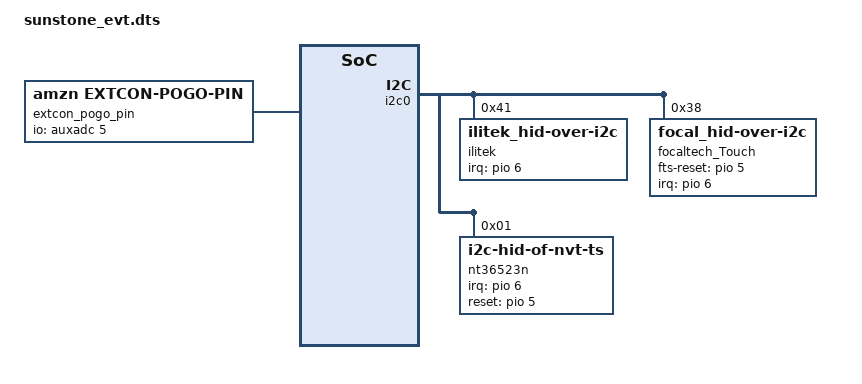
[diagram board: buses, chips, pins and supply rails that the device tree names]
/*
 * Copyright (C) 2022 Amazon.com
 *
 * This program is free software: you can redistribute it and/or modify
 * it under the terms of the GNU General Public License version 2 as
 * published by the Free Software Foundation.
 *
 * This program is distributed in the hope that it will be useful,
 * but WITHOUT ANY WARRANTY; without even the implied warranty of
 * MERCHANTABILITY or FITNESS FOR A PARTICULAR PURPOSE. See the
 * GNU General Public License for more details.
 *
 */

/dts-v1/;
/plugin/;

#define SUNSTONE_KEYBOARD_HALL_SENSOR
#include "sunstone.dtsi"

&chosen {
	version = "evt";
};

&i2c0 {
	ilitek@41 {
		compatible = "ilitek_hid-over-i2c";
		reg = <0x41>;
		irq-gpios = <&pio 6 GPIO_ACTIVE_HIGH>;
		hid-descr-addr = <0>;
	};

	focaltech_Touch@38 {
		compatible = "focal_hid-over-i2c";
		reg = <0x38>;
		fts-reset-gpios = <&pio 5 GPIO_ACTIVE_HIGH>;
		irq-gpios = <&pio 6 GPIO_ACTIVE_HIGH>;
		hid-descr-addr = <0>;
	};

	nt36523n@1 {
		compatible = "i2c-hid-of-nvt-ts";
		reg = <0x1>;
		hid-descr-addr = <0>;
		irq-gpios = <&pio 6 GPIO_ACTIVE_HIGH>;
		post-power-on-delay-ms = <50>;
		novatek,reset-gpio = <&pio 5 GPIO_ACTIVE_HIGH>;
		novatek,wakeup-id = <10>;
		novatek,pen-support;
	};
};

&lk_charger {
	fast_charge_voltage = <3300000>;
	precharge_current = <300000>;
};

&ssusb1 {
	extcon = <&extcon_pogo_pin>;
};

&odm {
	extcon_pogo_pin: extcon_pogo_pin {
		compatible = "amzn,extcon-pogo-pin";
		extcon = <&hall_sensors>;
		work-interval = <200 15000 200>;
		moisture-threshold = <0 605>;
		keyboard-threshold = <606 770>;
		nothing-threshold = <810 990>;
		usb = <&ssusb1>;
		io-channels = <&auxadc 5>;
		io-channel-names = "pogo_extcon_adc_channel";
		pinctrl-names = "detect_disable", "detect_enable";
		pinctrl-0 = <&pogo_extcon_detect_disable>;
		pinctrl-1 = <&pogo_extcon_detect_enable>;
	};
};
